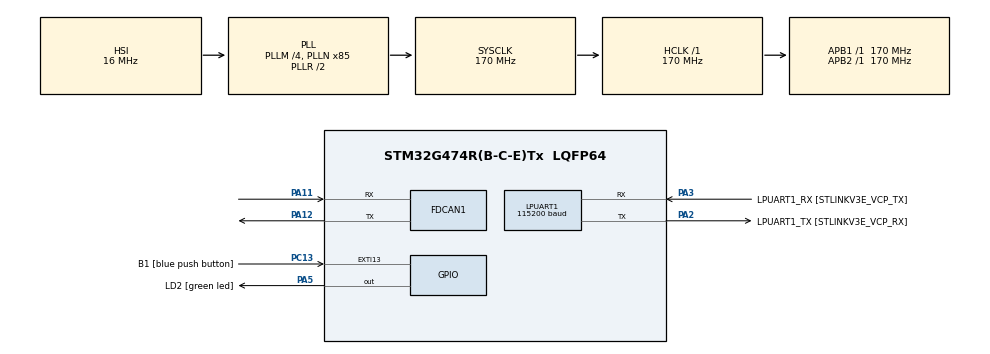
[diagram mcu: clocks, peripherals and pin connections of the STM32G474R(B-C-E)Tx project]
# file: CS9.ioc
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FDCAN1.CalculateBaudRateNominal=1000000
FDCAN1.CalculateTimeBitNominal=1000
FDCAN1.CalculateTimeQuantumNominal=100.0
FDCAN1.DataTimeSeg1=7
FDCAN1.DataTimeSeg2=2
FDCAN1.Mode=FDCAN_MODE_NORMAL
FDCAN1.NominalPrescaler=17
FDCAN1.NominalTimeSeg1=7
LPUART1.BaudRate=115200
LPUART1.WordLength=UART_WORDLENGTH_8B
Mcu.Family=STM32G4
Mcu.Name=STM32G474R(B-C-E)Tx
Mcu.Package=LQFP64
NVIC.EXTI15_10_IRQn=true\:0\:0\:false\:false\:true\:true\:true\:true
NVIC.PriorityGroup=NVIC_PRIORITYGROUP_4
PA11.Mode=FDCAN_Activate
PA11.Signal=FDCAN1_RX
PA12.Mode=FDCAN_Activate
PA12.Signal=FDCAN1_TX
PA13.GPIO_Label=T_SWDIO
PA13.Mode=Serial_Wire
PA13.Signal=SYS_JTMS-SWDIO
PA14.GPIO_Label=T_SWCLK
PA14.Mode=Serial_Wire
PA14.Signal=SYS_JTCK-SWCLK
PA2.GPIO_Label=LPUART1_TX [STLINKV3E_VCP_RX]
PA2.Mode=Asynchronous
PA2.Signal=LPUART1_TX
PA3.GPIO_Label=LPUART1_RX [STLINKV3E_VCP_TX]
PA3.Mode=Asynchronous
PA3.Signal=LPUART1_RX
PA5.GPIO_Label=LD2 [green led]
PA5.Signal=GPIO_Output
PB3.GPIO_Label=T_SWO
PB3.Signal=SYS_JTDO-SWO
PC13.GPIO_Label=B1 [blue push button]
PC13.Signal=GPXTI13
PC14-OSC32_IN.Mode=LSE-External-Oscillator
PC14-OSC32_IN.Signal=RCC_OSC32_IN
PC15-OSC32_OUT.Mode=LSE-External-Oscillator
PC15-OSC32_OUT.Signal=RCC_OSC32_OUT
PF0-OSC_IN.Mode=HSE-External-Oscillator
PF0-OSC_IN.Signal=RCC_OSC_IN
PF1-OSC_OUT.Mode=HSE-External-Oscillator
PF1-OSC_OUT.Signal=RCC_OSC_OUT
ProjectManager.HeapSize=0x200
ProjectManager.StackSize=0x400
ProjectManager.TargetToolchain=STM32CubeIDE
RCC.ADC12Freq_Value=170000000
RCC.ADC345Freq_Value=170000000
RCC.AHBFreq_Value=170000000
RCC.APB1Freq_Value=170000000
RCC.APB1TimFreq_Value=170000000
RCC.APB2Freq_Value=170000000
RCC.APB2TimFreq_Value=170000000
RCC.CortexFreq_Value=170000000
RCC.EXTERNAL_CLOCK_VALUE=12288000
RCC.HCLKFreq_Value=170000000
RCC.HSE_VALUE=24000000
RCC.HSI48_VALUE=48000000
RCC.HSI_VALUE=16000000
RCC.PLLM=RCC_PLLM_DIV4
RCC.PLLN=85
RCC.RTCClockSelection=RCC_RTCCLKSOURCE_LSE
RCC.SYSCLKFreq_VALUE=170000000
RCC.SYSCLKSource=RCC_SYSCLKSOURCE_PLLCLK
RCC.USBFreq_Value=170000000
RCC.VCOOutputFreq_Value=340000000
VP_SYS_VS_DBSignals.Mode=DisableDeadBatterySignals
board=NUCLEO-G474RE

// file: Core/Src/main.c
/* USER CODE BEGIN Header */
/**
  ******************************************************************************
  * @file           : main.c
  * @brief          : Main program body
  ******************************************************************************
  * @attention
  *
  * Copyright (c) 2025 STMicroelectronics.
  * All rights reserved.
  *
  * This software is licensed under terms that can be found in the LICENSE file
  * in the root directory of this software component.
  * If no LICENSE file comes with this software, it is provided AS-IS.
  *
  ******************************************************************************
  */
/* USER CODE END Header */
#include "main.h"

FDCAN_HandleTypeDef hfdcan1;

UART_HandleTypeDef hlpuart1;

/* USER CODE BEGIN PV */
FDCAN_RxHeaderTypeDef pRxHeader;
uint8_t data[8];
uint8_t
pTxData[8]={0xFF,0x00,0xAA,0x55,0x12,0x34,0x56,0x78};
/* USER CODE END PV */

void SystemClock_Config(void);
static void MX_GPIO_Init(void);
static void MX_LPUART1_UART_Init(void);
static void MX_FDCAN1_Init(void);

int main(void)
{

  /* MCU Configuration--------------------------------------------------------*/

  /* Reset of all peripherals, Initializes the Flash interface and the Systick. */
  HAL_Init();

  /* Configure the system clock */
  SystemClock_Config();

  /* Initialize all configured peripherals */
  MX_GPIO_Init();
  MX_LPUART1_UART_Init();
  MX_FDCAN1_Init();
  /* USER CODE BEGIN 2 */
  FDCAN_FilterTypeDef sFilterConfig =
  {
  .FilterConfig = FDCAN_FILTER_TO_RXFIFO0,
  .FilterIndex = 0,
  .FilterID1 = 0x123,
  .FilterID2 = 0x123,
  .IdType = FDCAN_STANDARD_ID,
  .FilterType = FDCAN_FILTER_RANGE
  };
  HAL_FDCAN_ConfigFilter(&hfdcan1, &sFilterConfig);
  HAL_FDCAN_Start(&hfdcan1);
  /* USER CODE END 2 */

  /* Infinite loop */
  while (1)
  {

    /* USER CODE BEGIN 3 */
	  FDCAN_TxHeaderTypeDef pTxHeader = {
	  .BitRateSwitch = FDCAN_BRS_OFF,
	  .DataLength = FDCAN_DLC_BYTES_8,
	  .ErrorStateIndicator = FDCAN_ESI_ACTIVE,
	  .FDFormat = FDCAN_DATA_FRAME,
	  .IdType = FDCAN_STANDARD_ID,
	  .Identifier = 0x123,
	  .MessageMarker = 1,
	  .TxEventFifoControl = FDCAN_TX_EVENT
	  };

	  if(HAL_GPIO_ReadPin(B1_GPIO_Port, B1_Pin)){
	  HAL_FDCAN_AddMessageToTxFifoQ(&hfdcan1, &pTxHeader, pTxData);
	  HAL_Delay(1000);}
	  HAL_FDCAN_GetRxMessage(&hfdcan1, FDCAN_RX_FIFO0, &pRxHeader, data);
  }
  /* USER CODE END 3 */
}

void SystemClock_Config(void)
{
  RCC_OscInitTypeDef RCC_OscInitStruct = {0};
  RCC_ClkInitTypeDef RCC_ClkInitStruct = {0};

  /** Configure the main internal regulator output voltage
  */
  HAL_PWREx_ControlVoltageScaling(PWR_REGULATOR_VOLTAGE_SCALE1_BOOST);

  /** Initializes the RCC Oscillators according to the specified parameters
  * in the RCC_OscInitTypeDef structure.
  */
  RCC_OscInitStruct.OscillatorType = RCC_OSCILLATORTYPE_HSI;
  RCC_OscInitStruct.HSIState = RCC_HSI_ON;
  RCC_OscInitStruct.HSICalibrationValue = RCC_HSICALIBRATION_DEFAULT;
  RCC_OscInitStruct.PLL.PLLState = RCC_PLL_ON;
  RCC_OscInitStruct.PLL.PLLSource = RCC_PLLSOURCE_HSI;
  RCC_OscInitStruct.PLL.PLLM = RCC_PLLM_DIV4;
  RCC_OscInitStruct.PLL.PLLN = 85;
  RCC_OscInitStruct.PLL.PLLP = RCC_PLLP_DIV2;
  RCC_OscInitStruct.PLL.PLLQ = RCC_PLLQ_DIV2;
  RCC_OscInitStruct.PLL.PLLR = RCC_PLLR_DIV2;
  if (HAL_RCC_OscConfig(&RCC_OscInitStruct) != HAL_OK)
  {
    Error_Handler();
  }

  /** Initializes the CPU, AHB and APB buses clocks
  */
  RCC_ClkInitStruct.ClockType = RCC_CLOCKTYPE_HCLK|RCC_CLOCKTYPE_SYSCLK
                              |RCC_CLOCKTYPE_PCLK1|RCC_CLOCKTYPE_PCLK2;
  RCC_ClkInitStruct.SYSCLKSource = RCC_SYSCLKSOURCE_PLLCLK;
  RCC_ClkInitStruct.AHBCLKDivider = RCC_SYSCLK_DIV1;
  RCC_ClkInitStruct.APB1CLKDivider = RCC_HCLK_DIV1;
  RCC_ClkInitStruct.APB2CLKDivider = RCC_HCLK_DIV1;

  if (HAL_RCC_ClockConfig(&RCC_ClkInitStruct, FLASH_LATENCY_4) != HAL_OK)
  {
    Error_Handler();
  }
}

static void MX_FDCAN1_Init(void)
{

  hfdcan1.Instance = FDCAN1;
  hfdcan1.Init.ClockDivider = FDCAN_CLOCK_DIV1;
  hfdcan1.Init.FrameFormat = FDCAN_FRAME_CLASSIC;
  hfdcan1.Init.Mode = FDCAN_MODE_NORMAL;
  hfdcan1.Init.AutoRetransmission = DISABLE;
  hfdcan1.Init.TransmitPause = DISABLE;
  hfdcan1.Init.ProtocolException = DISABLE;
  hfdcan1.Init.NominalPrescaler = 17;
  hfdcan1.Init.NominalSyncJumpWidth = 1;
  hfdcan1.Init.NominalTimeSeg1 = 7;
  hfdcan1.Init.NominalTimeSeg2 = 2;
  hfdcan1.Init.DataPrescaler = 1;
  hfdcan1.Init.DataSyncJumpWidth = 1;
  hfdcan1.Init.DataTimeSeg1 = 7;
  hfdcan1.Init.DataTimeSeg2 = 2;
  hfdcan1.Init.StdFiltersNbr = 0;
  hfdcan1.Init.ExtFiltersNbr = 0;
  hfdcan1.Init.TxFifoQueueMode = FDCAN_TX_FIFO_OPERATION;
  if (HAL_FDCAN_Init(&hfdcan1) != HAL_OK)
  {
    Error_Handler();
  }

}

static void MX_LPUART1_UART_Init(void)
{

  hlpuart1.Instance = LPUART1;
  hlpuart1.Init.BaudRate = 115200;
  hlpuart1.Init.WordLength = UART_WORDLENGTH_8B;
  hlpuart1.Init.StopBits = UART_STOPBITS_1;
  hlpuart1.Init.Parity = UART_PARITY_NONE;
  hlpuart1.Init.Mode = UART_MODE_TX_RX;
  hlpuart1.Init.HwFlowCtl = UART_HWCONTROL_NONE;
  hlpuart1.Init.OneBitSampling = UART_ONE_BIT_SAMPLE_DISABLE;
  hlpuart1.Init.ClockPrescaler = UART_PRESCALER_DIV1;
  hlpuart1.AdvancedInit.AdvFeatureInit = UART_ADVFEATURE_NO_INIT;
  if (HAL_UART_Init(&hlpuart1) != HAL_OK)
  {
    Error_Handler();
  }
  if (HAL_UARTEx_SetTxFifoThreshold(&hlpuart1, UART_TXFIFO_THRESHOLD_1_8) != HAL_OK)
  {
    Error_Handler();
  }
  if (HAL_UARTEx_SetRxFifoThreshold(&hlpuart1, UART_RXFIFO_THRESHOLD_1_8) != HAL_OK)
  {
    Error_Handler();
  }
  if (HAL_UARTEx_DisableFifoMode(&hlpuart1) != HAL_OK)
  {
    Error_Handler();
  }

}

static void MX_GPIO_Init(void)
{
  GPIO_InitTypeDef GPIO_InitStruct = {0};

  /* GPIO Ports Clock Enable */
  __HAL_RCC_GPIOC_CLK_ENABLE();
  __HAL_RCC_GPIOF_CLK_ENABLE();
  __HAL_RCC_GPIOA_CLK_ENABLE();
  __HAL_RCC_GPIOB_CLK_ENABLE();

  /*Configure GPIO pin Output Level */
  HAL_GPIO_WritePin(LD2_GPIO_Port, LD2_Pin, GPIO_PIN_RESET);

  /*Configure GPIO pin : B1_Pin */
  GPIO_InitStruct.Pin = B1_Pin;
  GPIO_InitStruct.Mode = GPIO_MODE_IT_RISING;
  GPIO_InitStruct.Pull = GPIO_NOPULL;
  HAL_GPIO_Init(B1_GPIO_Port, &GPIO_InitStruct);

  /*Configure GPIO pin : LD2_Pin */
  GPIO_InitStruct.Pin = LD2_Pin;
  GPIO_InitStruct.Mode = GPIO_MODE_OUTPUT_PP;
  GPIO_InitStruct.Pull = GPIO_NOPULL;
  GPIO_InitStruct.Speed = GPIO_SPEED_FREQ_LOW;
  HAL_GPIO_Init(LD2_GPIO_Port, &GPIO_InitStruct);

  /* EXTI interrupt init*/
  HAL_NVIC_SetPriority(EXTI15_10_IRQn, 0, 0);
  HAL_NVIC_EnableIRQ(EXTI15_10_IRQn);

}

void Error_Handler(void)
{
  __disable_irq();
  while (1)
  {
  }
}
